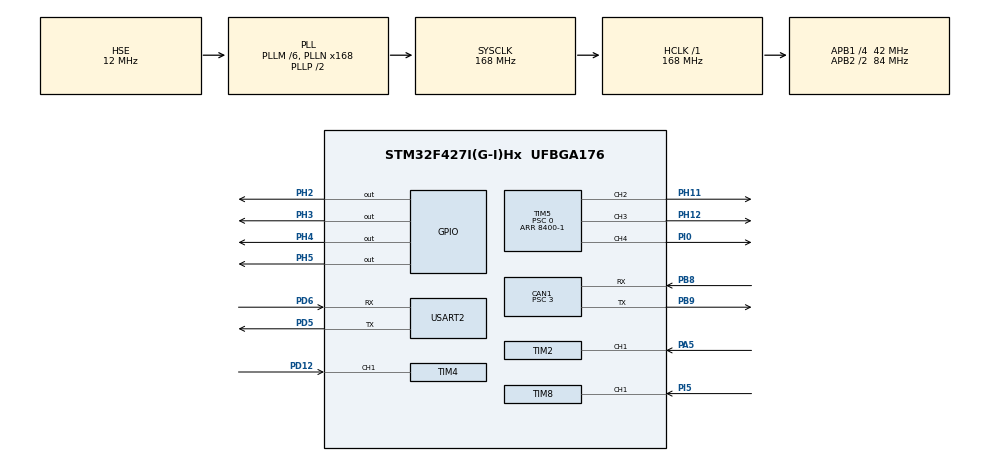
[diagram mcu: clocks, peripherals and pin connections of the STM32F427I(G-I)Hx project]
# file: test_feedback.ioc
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CAN1.BS1=CAN_BS1_10TQ
CAN1.BS2=CAN_BS2_3TQ
CAN1.CalculateBaudRate=1000000
CAN1.CalculateTimeBit=1000
CAN1.CalculateTimeQuantum=71.42857142857143
CAN1.Prescaler=3
Dma.Request0=USART2_RX
Dma.Request1=USART2_TX
Dma.USART2_RX.0.Direction=DMA_PERIPH_TO_MEMORY
Dma.USART2_RX.0.FIFOMode=DMA_FIFOMODE_DISABLE
Dma.USART2_RX.0.Instance=DMA1_Stream5
Dma.USART2_RX.0.MemDataAlignment=DMA_MDATAALIGN_BYTE
Dma.USART2_RX.0.MemInc=DMA_MINC_ENABLE
Dma.USART2_RX.0.Mode=DMA_NORMAL
Dma.USART2_RX.0.PeriphDataAlignment=DMA_PDATAALIGN_BYTE
Dma.USART2_RX.0.PeriphInc=DMA_PINC_DISABLE
Dma.USART2_RX.0.Priority=DMA_PRIORITY_LOW
Dma.USART2_TX.1.Direction=DMA_MEMORY_TO_PERIPH
Dma.USART2_TX.1.FIFOMode=DMA_FIFOMODE_DISABLE
Dma.USART2_TX.1.Instance=DMA1_Stream6
Dma.USART2_TX.1.MemDataAlignment=DMA_MDATAALIGN_BYTE
Dma.USART2_TX.1.MemInc=DMA_MINC_ENABLE
Dma.USART2_TX.1.Mode=DMA_NORMAL
Dma.USART2_TX.1.PeriphDataAlignment=DMA_PDATAALIGN_BYTE
Dma.USART2_TX.1.PeriphInc=DMA_PINC_DISABLE
Dma.USART2_TX.1.Priority=DMA_PRIORITY_LOW
Mcu.Family=STM32F4
Mcu.Name=STM32F427I(G-I)Hx
Mcu.Package=UFBGA176
NVIC.DMA1_Stream5_IRQn=true\:0\:0\:false\:false\:true\:false\:true\:true
NVIC.DMA1_Stream6_IRQn=true\:0\:0\:false\:false\:true\:false\:true\:true
NVIC.PriorityGroup=NVIC_PRIORITYGROUP_4
NVIC.TIM2_IRQn=true\:0\:0\:false\:false\:true\:true\:true\:true
NVIC.TIM4_IRQn=true\:0\:0\:false\:false\:true\:true\:true\:true
NVIC.TIM8_BRK_TIM12_IRQn=true\:0\:0\:false\:false\:true\:true\:true\:true
NVIC.TIM8_CC_IRQn=true\:0\:0\:false\:false\:true\:true\:true\:true
NVIC.TIM8_TRG_COM_TIM14_IRQn=true\:0\:0\:false\:false\:true\:true\:true\:true
NVIC.TIM8_UP_TIM13_IRQn=true\:0\:0\:false\:false\:true\:true\:true\:true
NVIC.USART2_IRQn=true\:0\:0\:false\:false\:true\:true\:true\:true
PA13.Mode=Serial_Wire
PA13.Signal=SYS_JTMS-SWDIO
PA14.Mode=Serial_Wire
PA14.Signal=SYS_JTCK-SWCLK
PA5.Signal=S_TIM2_CH1_ETR
PB0.Signal=S_TIM3_CH3
PB1.Signal=S_TIM3_CH4
PB8.Mode=CAN_Activate
PB8.Signal=CAN1_RX
PB9.Mode=CAN_Activate
PB9.Signal=CAN1_TX
PD12.Signal=S_TIM4_CH1
PD5.Mode=Asynchronous
PD5.Signal=USART2_TX
PD6.Mode=Asynchronous
PD6.Signal=USART2_RX
PH0/OSC_IN.Mode=HSE-External-Oscillator
PH0/OSC_IN.Signal=RCC_OSC_IN
PH1/OSC_OUT.Mode=HSE-External-Oscillator
PH1/OSC_OUT.Signal=RCC_OSC_OUT
PH11.Signal=S_TIM5_CH2
PH12.Signal=S_TIM5_CH3
PH2.GPIO_PuPd=GPIO_PULLDOWN
PH2.Signal=GPIO_Output
PH3.GPIO_PuPd=GPIO_PULLDOWN
PH3.Signal=GPIO_Output
PH4.GPIO_PuPd=GPIO_PULLDOWN
PH4.Signal=GPIO_Output
PH5.GPIO_PuPd=GPIO_PULLDOWN
PH5.Signal=GPIO_Output
PI0.Signal=S_TIM5_CH4
PI5.Signal=S_TIM8_CH1
ProjectManager.HeapSize=0x200
ProjectManager.StackSize=0x400
ProjectManager.TargetToolchain=MDK-ARM V5.32
RCC.48MHZClocksFreq_Value=84000000
RCC.AHBFreq_Value=168000000
RCC.APB1CLKDivider=RCC_HCLK_DIV4
RCC.APB1Freq_Value=42000000
RCC.APB1TimFreq_Value=84000000
RCC.APB2CLKDivider=RCC_HCLK_DIV2
RCC.APB2Freq_Value=84000000
RCC.APB2TimFreq_Value=168000000
RCC.CortexFreq_Value=168000000
RCC.HCLKFreq_Value=168000000
RCC.HSE_VALUE=12000000
RCC.HSI_VALUE=16000000
RCC.LSE_VALUE=32768
RCC.PLLM=6
RCC.PLLN=168
RCC.PLLSourceVirtual=RCC_PLLSOURCE_HSE
RCC.SYSCLKFreq_VALUE=168000000
RCC.SYSCLKSource=RCC_SYSCLKSOURCE_PLLCLK
RCC.VCOOutputFreq_Value=336000000
SH.S_TIM2_CH1_ETR.0=TIM2_CH1,TriggerSource_TI1FP1
SH.S_TIM2_CH1_ETR.1=TIM2_CH1,Input_Capture1_from_TI1
SH.S_TIM3_CH3.0=TIM3_CH3
SH.S_TIM3_CH4.0=TIM3_CH4
SH.S_TIM4_CH1.0=TIM4_CH1,TriggerSource_TI1FP1
SH.S_TIM4_CH1.1=TIM4_CH1,Input_Capture1_from_TI1
SH.S_TIM5_CH2.0=TIM5_CH2,PWM Generation2 CH2
SH.S_TIM5_CH3.0=TIM5_CH3,PWM Generation3 CH3
SH.S_TIM5_CH4.0=TIM5_CH4,PWM Generation4 CH4
SH.S_TIM8_CH1.0=TIM8_CH1,TriggerSource_TI1FP1
SH.S_TIM8_CH1.1=TIM8_CH1,Input_Capture1_from_TI1
TIM2.Channel-Input_Capture1_from_TI1=TIM_CHANNEL_1
TIM2.Period=65535
TIM2.Prescaler=83
TIM4.Channel-Input_Capture1_from_TI1=TIM_CHANNEL_1
TIM4.Prescaler=83
TIM5.Channel-PWM\ Generation2\ CH2=TIM_CHANNEL_2
TIM5.Channel-PWM\ Generation3\ CH3=TIM_CHANNEL_3
TIM5.Channel-PWM\ Generation4\ CH4=TIM_CHANNEL_4
TIM5.Period=8400-1
TIM5.Prescaler=0
TIM8.Channel-Input_Capture1_from_TI1=TIM_CHANNEL_1
TIM8.Prescaler=167
USART2.VirtualMode=VM_ASYNC
VP_TIM2_VS_ClockSourceINT.Mode=Internal
VP_TIM2_VS_ControllerModeReset.Mode=Reset Mode
VP_TIM4_VS_ControllerModeReset.Mode=Reset Mode
VP_TIM5_VS_ClockSourceINT.Mode=Internal
VP_TIM8_VS_ClockSourceINT.Mode=Internal
VP_TIM8_VS_ControllerModeReset.Mode=Reset Mode
board=custom

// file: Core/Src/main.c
/* USER CODE BEGIN Header */
/**
 ******************************************************************************
 * @file           : main.c
 * @brief          : Main program body
 ******************************************************************************
 * @attention
 *
 * Copyright (c) 2023 STMicroelectronics.
 * All rights reserved.
 *
 * This software is licensed under terms that can be found in the LICENSE file
 * in the root directory of this software component.
 * If no LICENSE file comes with this software, it is provided AS-IS.
 *
 ******************************************************************************
 */
/* USER CODE END Header */
#include "main.h"
#include "can.h"
#include "dma.h"
#include "tim.h"
#include "usart.h"
#include "gpio.h"

/* USER CODE BEGIN Includes */

#include "dvc_serialplot.h"

#include "pid.h"
/* USER CODE END Includes */

/* USER CODE BEGIN PV */

Class_Serialplot serialplot;

float Tx_1, Tx_2, Tx_3, Tx_4;
float output_pid[3];
uint32_t freq1,freq2,freq3;
extern TIM_HandleTypeDef htim2;
extern TIM_HandleTypeDef htim4;
extern TIM_HandleTypeDef htim5;
extern TIM_HandleTypeDef htim8;

extern PID_typedef 			Motor_pid[14];

/* USER CODE END PV */

void SystemClock_Config(void);

int main(void)
{

  /* MCU Configuration--------------------------------------------------------*/

  /* Reset of all peripherals, Initializes the Flash interface and the Systick. */
  HAL_Init();

  /* Configure the system clock */
  SystemClock_Config();

  /* Initialize all configured peripherals */
  MX_GPIO_Init();
  MX_DMA_Init();
  MX_USART2_UART_Init();
  MX_TIM2_Init();
  MX_TIM5_Init();
  MX_TIM4_Init();
  MX_TIM8_Init();
  MX_CAN1_Init();
  /* USER CODE BEGIN 2 */
   PID_total_init(); // PID参数初始化

  // 初始化并启动PWM输出（用于电机控制）
  HAL_TIM_PWM_Init(&htim5);
  Uart_Init(&huart2, NULL, 0, NULL);
  HAL_TIM_PWM_Start(&htim5, TIM_CHANNEL_4);
  HAL_TIM_PWM_Start(&htim5, TIM_CHANNEL_2);
  HAL_TIM_PWM_Start(&htim5, TIM_CHANNEL_3);

  // 启动输入捕获中断（用于测速）
  HAL_TIM_IC_Start_IT(&htim2, TIM_CHANNEL_1); // 电机1测速
  HAL_TIM_IC_Start_IT(&htim4, TIM_CHANNEL_1); // 电机2测速
  HAL_TIM_IC_Start_IT(&htim8, TIM_CHANNEL_1); // 电机3测速
  // 串口初始化，用于数据上报

  serialplot.Init(&huart2, 0, NULL);
  /* USER CODE END 2 */

  /* Infinite loop */
  /* USER CODE BEGIN WHILE */
  while (1)
  {
    //   计算三个电机的转速（单位：RPM）
    //freqX为输入捕获得到的频率，48为编码器每转脉冲数，*60为每分钟
    Tx_1 = freq1 / 48 * 60;
    Tx_2 = freq2 / 48 * 60;
    Tx_3 = freq3 / 48 * 60;
    // if (Tx_1 > 800) Tx_1 = 800; // 限制电机1转速
    // if (Tx_2 > 600) Tx_2 = 600; // 限制电机2转速
    // if (Tx_3 > 600) Tx_3 = 600; // 限制电机3转速
    // PID闭环调速，目标转速为600RPM
    output_pid[0] = PID_calc(&Motor_pid[0], Tx_1, 800);
    output_pid[1] = PID_calc(&Motor_pid[1], Tx_2, 600);
    output_pid[2] = PID_calc(&Motor_pid[2], Tx_3, 600);

    // 限幅，防止PWM输出超出范围
    if (output_pid[0] < 0) output_pid[0] = 0;
    if (output_pid[0] > __HAL_TIM_GET_AUTORELOAD(&htim5)) output_pid[0] = __HAL_TIM_GET_AUTORELOAD(&htim5);
    if (output_pid[1] < 0) output_pid[1] = 0;
    if (output_pid[1] > __HAL_TIM_GET_AUTORELOAD(&htim5)) output_pid[1] = __HAL_TIM_GET_AUTORELOAD(&htim5);
    if (output_pid[2] < 0) output_pid[2] = 0;
    if (output_pid[2] > __HAL_TIM_GET_AUTORELOAD(&htim5)) output_pid[2] = __HAL_TIM_GET_AUTORELOAD(&htim5);

    // 设置PWM占空比，实现对电机的速度控制
    __HAL_TIM_SET_COMPARE(&htim5, TIM_CHANNEL_2, (uint32_t)output_pid[0]);
    __HAL_TIM_SET_COMPARE(&htim5, TIM_CHANNEL_3, (uint32_t)output_pid[1]);
    __HAL_TIM_SET_COMPARE(&htim5, TIM_CHANNEL_4, (uint32_t)output_pid[2]);

    //发送数据到上位机，便于调试和监控
         serialplot.Set_Data(3, &Tx_1, &output_pid[0], &Tx_3);
        serialplot.TIM_Add_PeriodElapsedCallback();
        TIM_UART_PeriodElapsedCallback();

    // 延时10ms，控制主循环频率
    HAL_Delay(10);
    /* USER CODE END WHILE */

  }
}

void SystemClock_Config(void)
{
  RCC_OscInitTypeDef RCC_OscInitStruct = {0};
  RCC_ClkInitTypeDef RCC_ClkInitStruct = {0};

  /** Configure the main internal regulator output voltage
  */
  __HAL_RCC_PWR_CLK_ENABLE();
  __HAL_PWR_VOLTAGESCALING_CONFIG(PWR_REGULATOR_VOLTAGE_SCALE1);

  /** Initializes the RCC Oscillators according to the specified parameters
  * in the RCC_OscInitTypeDef structure.
  */
  RCC_OscInitStruct.OscillatorType = RCC_OSCILLATORTYPE_HSE;
  RCC_OscInitStruct.HSEState = RCC_HSE_ON;
  RCC_OscInitStruct.PLL.PLLState = RCC_PLL_ON;
  RCC_OscInitStruct.PLL.PLLSource = RCC_PLLSOURCE_HSE;
  RCC_OscInitStruct.PLL.PLLM = 6;
  RCC_OscInitStruct.PLL.PLLN = 168;
  RCC_OscInitStruct.PLL.PLLP = RCC_PLLP_DIV2;
  RCC_OscInitStruct.PLL.PLLQ = 4;
  if (HAL_RCC_OscConfig(&RCC_OscInitStruct) != HAL_OK)
  {
    Error_Handler();
  }

  /** Initializes the CPU, AHB and APB buses clocks
  */
  RCC_ClkInitStruct.ClockType = RCC_CLOCKTYPE_HCLK|RCC_CLOCKTYPE_SYSCLK
                              |RCC_CLOCKTYPE_PCLK1|RCC_CLOCKTYPE_PCLK2;
  RCC_ClkInitStruct.SYSCLKSource = RCC_SYSCLKSOURCE_PLLCLK;
  RCC_ClkInitStruct.AHBCLKDivider = RCC_SYSCLK_DIV1;
  RCC_ClkInitStruct.APB1CLKDivider = RCC_HCLK_DIV4;
  RCC_ClkInitStruct.APB2CLKDivider = RCC_HCLK_DIV2;

  if (HAL_RCC_ClockConfig(&RCC_ClkInitStruct, FLASH_LATENCY_5) != HAL_OK)
  {
    Error_Handler();
  }
}

/* USER CODE BEGIN 4 */
/**
  * @brief 定时器输入捕获中断回调函数
  * @param htim: 定时器句柄
  * @note  用于测量输入信号周期，计算频率
  */
uint32_t current_capture = 0; // 当前捕获值
void HAL_TIM_IC_CaptureCallback(TIM_HandleTypeDef *htim)
{
    if (htim->Instance == TIM2) // TIM2用于电机1测速
    {
        if (htim->Channel == HAL_TIM_ACTIVE_CHANNEL_1)
        {

               uint32_t before_capture=current_capture;
                // 读取当前捕获值
               uint32_t current_capture=HAL_TIM_ReadCapturedValue(htim,TIM_CHANNEL_1)+1;
                if (current_capture < before_capture) {
                    current_capture += 65535; // 处理溢出
                }
           freq1=1000000/(current_capture-before_capture);
        }
    }
    else if (htim->Instance == TIM4) // TIM3用于电机2、3测速
    {
        // 电机2测速（CH3）
        if (htim->Channel == HAL_TIM_ACTIVE_CHANNEL_1)
        {

            uint32_t before_capture=current_capture;
              uint32_t current_capture=HAL_TIM_ReadCapturedValue(htim,TIM_CHANNEL_1)+1;
                if (current_capture < before_capture) {
                    current_capture += 65535; // 处理溢出
                }
           freq2=1000000/(current_capture-before_capture);
        }
        // 电机3测速（CH4）

    }
    else if (htim->Instance == TIM8)
      {
        if (htim->Channel == HAL_TIM_ACTIVE_CHANNEL_1)
              {
                  uint32_t before_capture=current_capture;
                    uint32_t current_capture=HAL_TIM_ReadCapturedValue(htim,TIM_CHANNEL_1)+1;
                      if (current_capture < before_capture) {
                          current_capture += 65535; // 处理溢出
                      }
                  freq3=1000000/(current_capture-before_capture);
              }
      }
}
/* USER CODE END 4 */

void Error_Handler(void)
{
    __disable_irq();
    while (1)
    {
    }
}
